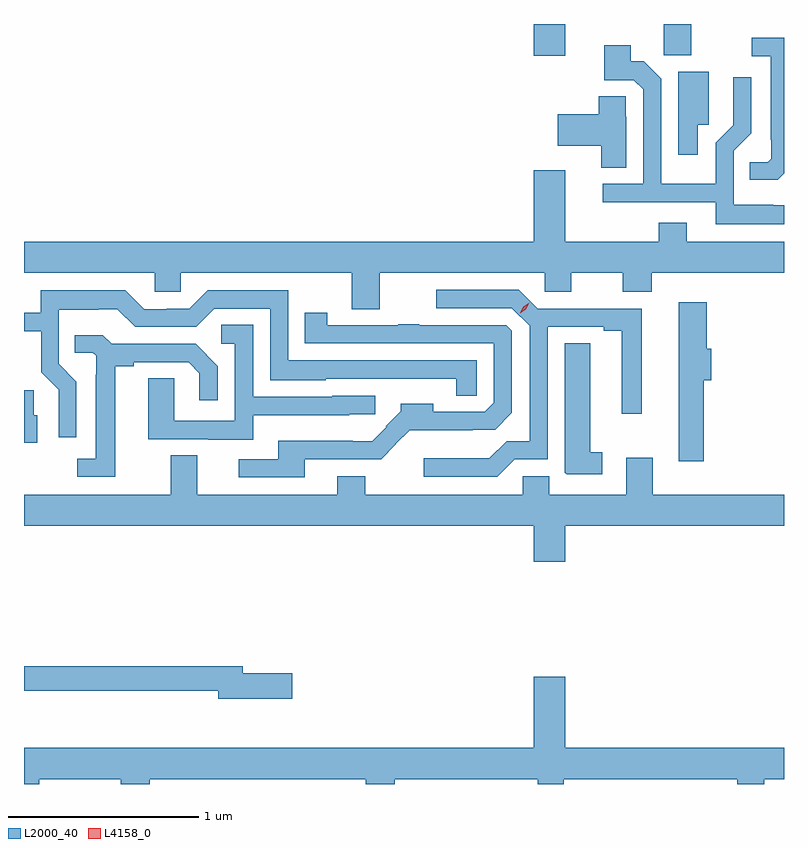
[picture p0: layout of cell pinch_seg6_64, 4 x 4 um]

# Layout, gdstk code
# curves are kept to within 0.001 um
import gdstk
lib = gdstk.Library(unit=1e-6, precision=1e-09)
def R(c, l, rs):  # rectangles x0, y0, x1, y1
    for r in rs: c.add(gdstk.rectangle(r[:2], r[2:], *l))
def P(c, l, *ps):  # polygons
    for p in ps: c.add(gdstk.Polygon(p, *l))
L2000_40 = (2000, 40)
L4158_0 = (4158, 0)

pinch_seg6_64 = lib.new_cell('pinch_seg6_64')
R(pinch_seg6_64, L2000_40, [(932.24,939.156,932.404,939.322), (932.922,939.157,933.069,939.322)])
P(pinch_seg6_64, L2000_40, [(933.556,938.536),(933.556,939.249),(933.387,939.249),(933.387,939.153),(933.485,939.153),(933.485,938.713),(933.489,938.713),(933.489,938.613),(933.471,938.595),(933.376,938.595),(933.376,938.503),(933.522,938.503)],
  [(933.556,938.367),(933.5,938.367),(933.5,938.371),(933.291,938.371),(933.291,938.655),(933.384,938.748),(933.384,939.043),(933.288,939.043),(933.288,938.896),(933.29,938.896),(933.29,938.79),(933.198,938.698),(933.198,938.482),(932.91,938.482),(932.91,939.033),(932.817,939.126),(932.749,939.126),(932.749,939.211),(932.609,939.211),(932.609,939.027),(932.766,939.027),(932.814,938.979),(932.814,938.481),(932.601,938.481),(932.601,938.385),(933.197,938.385),(933.197,938.267),(933.556,938.267)],
  [(933.103,938.793),(933.16,938.793),(933.16,939.072),(932.999,939.072),(932.999,938.634),(933.103,938.634)],
  [(932.725,938.834),(932.724,938.834),(932.724,938.942),(932.582,938.942),(932.582,938.847),(932.364,938.847),(932.364,938.681),(932.594,938.681),(932.594,938.566),(932.725,938.566)],
  [(931.429,938.012),(932.298,938.012),(932.298,937.914),(932.437,937.914),(932.437,938.012),(932.708,938.012),(932.708,937.913),(932.861,937.913),(932.861,938.012),(933.556,938.012),(933.556,938.176),(933.043,938.176),(933.043,938.275),(932.896,938.275),(932.896,938.176),(932.404,938.176),(932.404,938.551),(932.24,938.551),(932.24,938.176),(929.556,938.176),(929.556,938.012),(930.243,938.012),(930.243,937.914),(930.381,937.914),(930.381,938.012),(931.282,938.012),(931.282,937.822),(931.429,937.822)],
  [(932.139,937.032),(932.313,937.032),(932.313,937.728),(932.606,937.728),(932.606,937.708),(932.702,937.708),(932.702,937.272),(932.806,937.272),(932.806,937.824),(932.26,937.824),(932.161,937.923),(931.725,937.923),(931.725,937.827),(932.124,937.827),(932.217,937.734),(932.217,937.127),(932.096,937.127),(932.005,937.036),(931.659,937.036),(931.659,936.939),(932.046,936.939)],
  [(929.832,937.44),(929.739,937.533),(929.739,937.817),(929.948,937.817),(929.948,937.821),(930.048,937.821),(930.141,937.728),(930.462,937.728),(930.558,937.824),(930.852,937.824),(930.852,937.448),(931.143,937.448),(931.143,937.455),(931.83,937.454),(931.83,937.366),(931.938,937.366),(931.938,937.551),(930.948,937.551),(930.948,937.92),(930.522,937.92),(930.426,937.824),(930.306,937.824),(930.306,937.821),(930.189,937.821),(930.089,937.921),(929.645,937.921),(929.645,937.803),(929.556,937.803),(929.556,937.706),(929.646,937.706),(929.646,937.49),(929.738,937.398),(929.738,937.146),(929.832,937.146)],
  [(933.134,937.448),(933.173,937.448),(933.173,937.614),(933.149,937.614),(933.149,937.858),(933.002,937.858),(933.002,937.02),(933.134,937.02)],
  [(931.033,937.032),(931.437,937.032),(931.513,937.109),(931.511,937.111),(931.585,937.185),(931.919,937.184),(931.919,937.186),(932.035,937.186),(932.124,937.275),(932.124,937.707),(932.094,937.737),(931.637,937.737),(931.637,937.742),(931.525,937.742),(931.525,937.737),(931.152,937.737),(931.152,937.801),(931.033,937.801),(931.033,937.641),(932.028,937.641),(932.028,937.329),(931.98,937.281),(931.711,937.281),(931.711,937.324),(931.54,937.324),(931.54,937.285),(931.461,937.206),(931.464,937.203),(931.388,937.127),(931.286,937.127),(931.286,937.129),(930.893,937.129),(930.893,937.032),(930.687,937.032),(930.687,936.936),(931.033,936.936)],
  [(930.763,937.262),(931.269,937.262),(931.269,937.269),(931.404,937.269),(931.404,937.365),(931.179,937.365),(931.179,937.359),(930.762,937.359),(930.762,937.739),(930.594,937.739),(930.594,937.638),(930.666,937.638),(930.666,937.233),(930.348,937.233),(930.348,937.457),(930.209,937.457),(930.209,937.137),(930.527,937.137),(930.527,937.133),(930.763,937.133)],
  [(930.037,937.522),(930.133,937.522),(930.133,937.542),(930.422,937.542),(930.479,937.485),(930.479,937.341),(930.576,937.341),(930.576,937.522),(930.46,937.638),(930.018,937.638),(929.97,937.685),(929.824,937.685),(929.824,937.593),(929.919,937.593),(929.937,937.575),(929.937,937.475),(929.933,937.475),(929.933,937.035),(929.835,937.035),(929.835,936.939),(930.037,936.939)],
  [(932.599,937.067),(932.536,937.067),(932.536,937.643),(932.402,937.643),(932.402,936.961),(932.412,936.951),(932.599,936.951)],
  [(929.626,937.263),(929.607,937.263),(929.607,937.395),(929.556,937.395),(929.556,937.118),(929.626,937.118)],
  [(932.404,936.68),(933.556,936.68),(933.556,936.844),(932.866,936.844),(932.866,937.039),(932.726,937.039),(932.726,936.844),(932.32,936.844),(932.32,936.942),(932.181,936.942),(932.181,936.844),(931.353,936.844),(931.353,936.943),(931.205,936.943),(931.205,936.844),(930.469,936.844),(930.469,937.052),(930.329,937.052),(930.329,936.844),(929.556,936.844),(929.556,936.68),(932.24,936.68),(932.24,936.492),(932.404,936.492)],
  [(930.967,935.906),(930.706,935.906),(930.706,935.942),(929.556,935.942),(929.556,935.814),(930.578,935.814),(930.578,935.771),(930.967,935.771)],
  [(929.635,935.348),(930.065,935.348),(930.065,935.322),(930.218,935.322),(930.218,935.348),(931.355,935.348),(931.355,935.322),(931.507,935.322),(931.507,935.348),(932.259,935.348),(932.259,935.322),(932.397,935.322),(932.397,935.348),(933.311,935.348),(933.311,935.322),(933.451,935.322),(933.451,935.348),(933.556,935.348),(933.556,935.512),(932.404,935.512),(932.404,935.887),(932.24,935.887),(932.24,935.512),(929.556,935.512),(929.556,935.322),(929.635,935.322)])
P(pinch_seg6_64, L4158_0, [(932.167,937.799),(932.167,937.8),(932.183,937.834),(932.214,937.855),(932.214,937.855),(932.214,937.854),(932.198,937.821),(932.168,937.799)])

lib.write_gds('pinch_seg6_64.gds')
